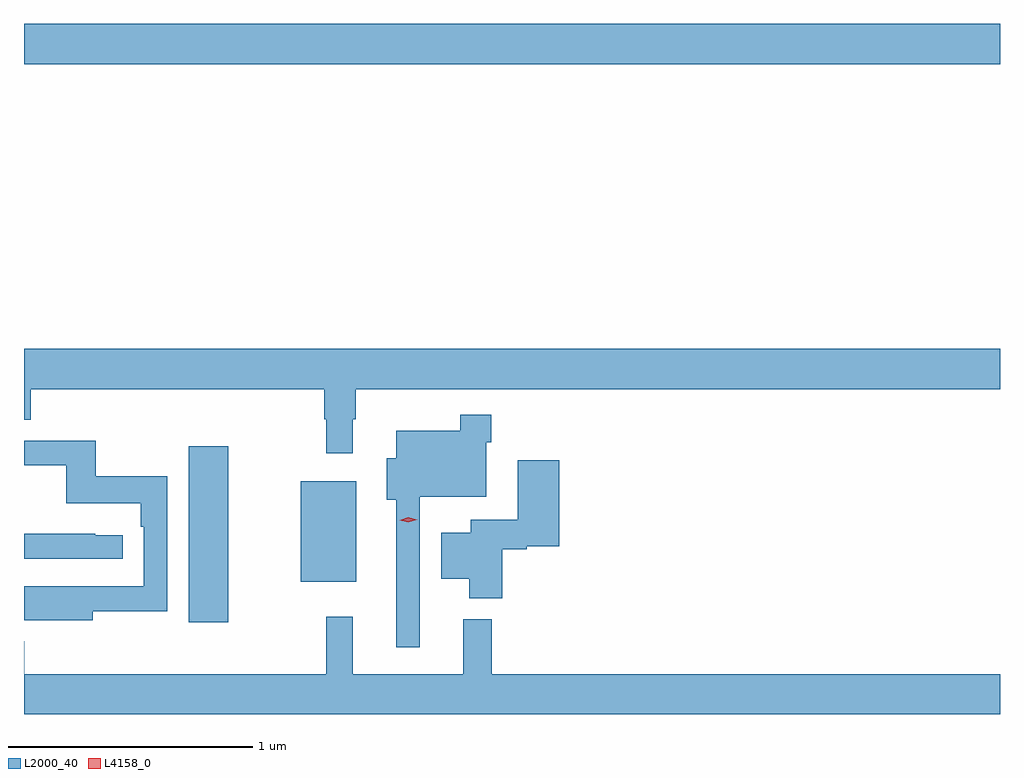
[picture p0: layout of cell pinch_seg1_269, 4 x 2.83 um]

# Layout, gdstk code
import gdstk
lib = gdstk.Library(unit=1e-6, precision=1e-09)
def R(c, l, rs):  # rectangles x0, y0, x1, y1
    for r in rs: c.add(gdstk.rectangle(r[:2], r[2:], *l))
def P(c, l, *ps):  # polygons
    for p in ps: c.add(gdstk.Polygon(p, *l))
L2000_40 = (2000, 40)
L4158_0 = (4158, 0)

pinch_seg1_269 = lib.new_cell('pinch_seg1_269')
R(pinch_seg1_269, L2000_40, [(926.345,556.104,926.506,556.825), (926.804,556.271,927.031,556.681), (925.669,558.392,929.669,558.556)])
P(pinch_seg1_269, L2000_40, [(925.669,556.933),(925.697,556.933),(925.697,557.06),(926.899,557.06),(926.899,556.937),(926.907,556.937),(926.907,556.797),(927.016,556.797),(927.016,556.937),(927.028,556.937),(927.028,557.06),(929.669,557.06),(929.669,557.224),(925.669,557.224)],
  [(927.291,556.619),(927.564,556.619),(927.564,556.841),(927.584,556.841),(927.584,556.954),(927.456,556.954),(927.456,556.888),(927.194,556.888),(927.194,556.777),(927.155,556.777),(927.155,556.607),(927.194,556.607),(927.194,556.002),(927.291,556.002)],
  [(925.951,556.15),(926.256,556.15),(926.256,556.702),(925.963,556.702),(925.963,556.848),(925.669,556.848),(925.669,556.747),(925.842,556.747),(925.842,556.592),(926.147,556.592),(926.147,556.496),(926.16,556.496),(926.16,556.251),(925.847,556.251),(925.847,556.252),(925.669,556.252),(925.669,556.112),(925.951,556.112)],
  [(927.629,556.403),(927.729,556.403),(927.729,556.415),(927.863,556.415),(927.863,556.768),(927.692,556.768),(927.692,556.525),(927.5,556.525),(927.5,556.471),(927.38,556.471),(927.38,556.283),(927.494,556.283),(927.494,556.202),(927.629,556.202)],
  [(926.074,556.461),(925.961,556.461),(925.961,556.466),(925.669,556.466),(925.669,556.365),(926.074,556.365)],
  [(929.669,555.892),(927.587,555.892),(927.587,556.117),(927.47,556.117),(927.47,555.892),(927.017,555.892),(927.017,556.126),(926.907,556.126),(926.907,555.892),(925.67,555.892),(925.67,556.027),(925.669,556.027),(925.669,555.728),(929.669,555.728)])
P(pinch_seg1_269, L4158_0, [(927.244,556.514),(927.209,556.523),(927.208,556.523),(927.209,556.523),(927.244,556.534),(927.279,556.525),(927.28,556.525),(927.279,556.525)])

lib.write_gds('pinch_seg1_269.gds')
